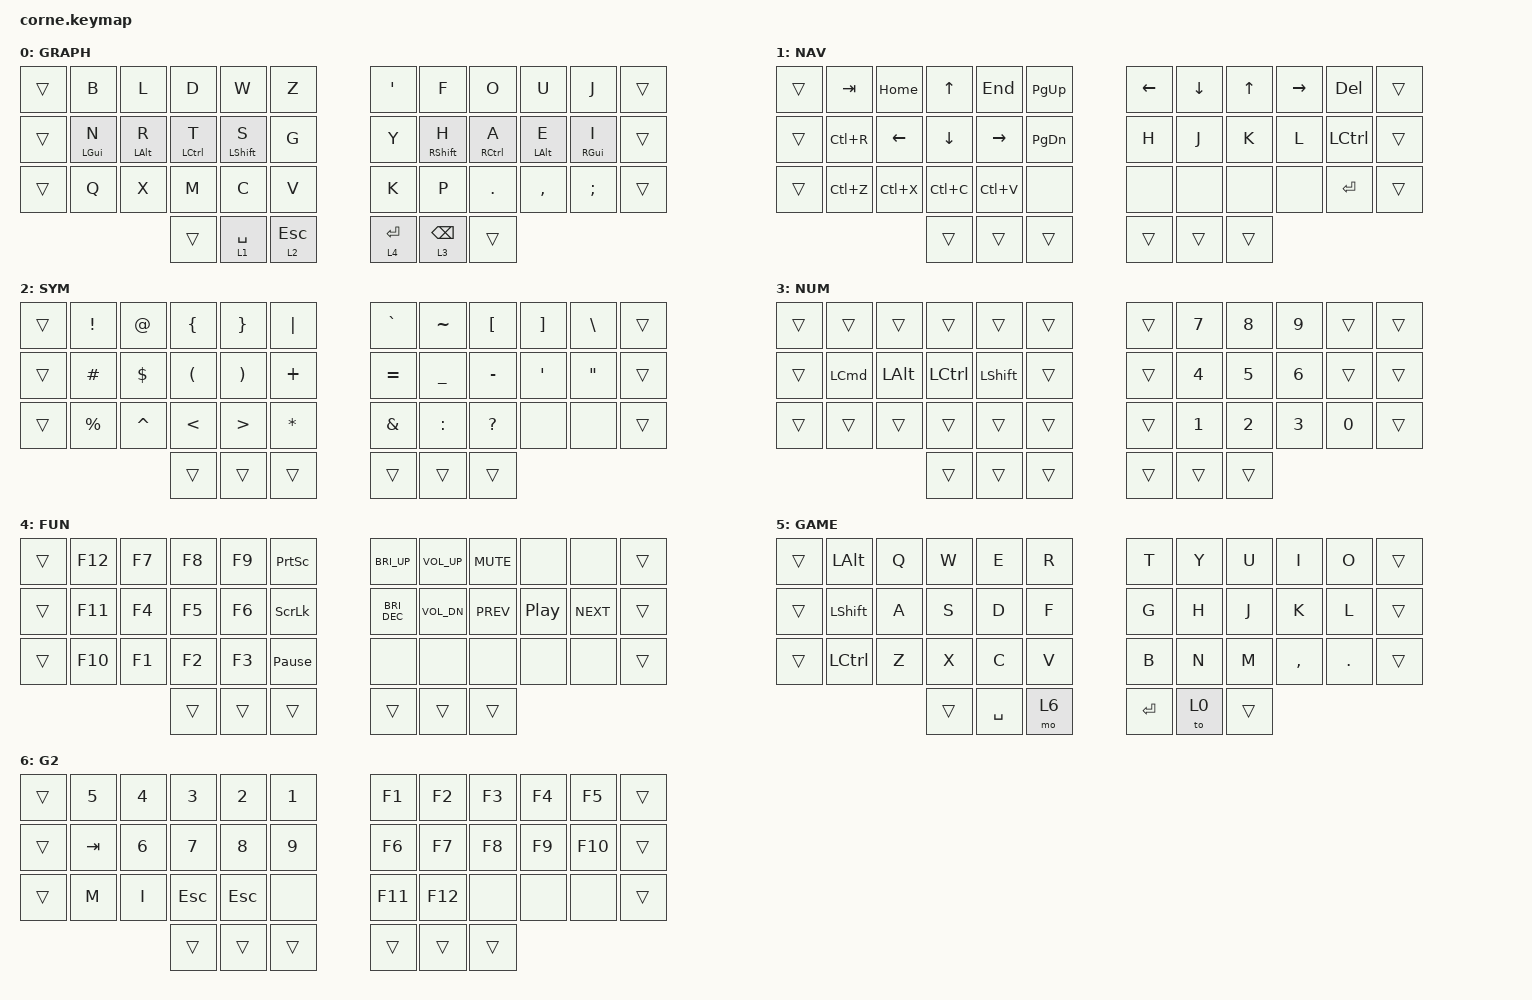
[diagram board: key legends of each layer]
#include <behaviors.dtsi>
#include <dt-bindings/zmk/keys.h>
#include <dt-bindings/zmk/bt.h>

#include "macros.dtsi"
#include "combos.dtsi"
#include "behaviors.dtsi"

/ {
    keymap {
        compatible = "zmk,keymap";

        // L0: GRAPHITE BASE
        graphite_layer {
            display-name = "GRAPH"; // This shows on the OLED
            bindings = <
                // ╭───────────┬───────────┬───────────┬────────────┬────────────┬────────────╮ ╭───────────┬─────────────┬─────────────┬─────────────┬────────────┬───────────╮
                      &trans      &kp B        &kp L        &kp D       &kp W         &kp Z        &kp SQT       &kp F        &kp O         &kp U         &kp J       &trans
                // ├───────────┼───────────┼───────────┼────────────┼────────────┼─────────────┤ ├───────────┼────────────┼─────────────┼─────────────┼────────────┼───────────┤
                      &trans    &hm LGUI N  &hm LALT R  &hm LCTRL T &hm LSHFT S       &kp G        &kp Y     &hm RSHFT H    &hm RCTRL A   &hm LALT E    &hm RGUI I     &trans
                // ├───────────┼───────────┼───────────┼────────────┼────────────┤────────────┤ ├───────────┼─────────────┼─────────────┼─────────────┼────────────┤───────────┤
                      &trans      &kp Q        &kp X        &kp M       &kp C         &kp V        &kp K         &kp P        &kp DOT     &kp COMMA     &kp SEMI      &trans
                // ╰───────────┴───────────┼───────────┼────────────┼────────────┼────────────┤ ├───────────┼─────────────┼─────────────┼─────────────┼────────────┼───────────╯
                                                           &trans    &lt 1 SPACE  &lt 2 ESCAPE    &lt 4 RET &lt 3 BACKSPACE    &trans
                //                                     ╰────────────┴────────────┴────────────╯ ╰───────────┴─────────────┴─────────────╯
            >;
        };


        // L1: NAV (VIM MUSCLE MEMORY)

        nav_layer {
            display-name = "NAV"; // This shows on the OLED
            bindings = <
                // ╭───────────┬───────────┬───────────┬────────────┬────────────┬────────────╮ ╭───────────┬────────────┬─────────────┬─────────────┬────────────┬───────────╮
                      &trans      &kp TAB    &kp HOME     &kp UP       &kp END      &kp PG_UP      &kp LEFT    &kp DOWN   &kp UP_ARROW    &kp RIGHT      &kp DEL      &trans
                // ├───────────┼───────────┼───────────┼────────────┼────────────┼────────────┤ ├───────────┼────────────┼─────────────┼─────────────┼────────────┼───────────┤
                      &trans     &kp LC(R)   &kp LEFT    &kp DOWN      &kp RIGHT    &kp PG_DN      &kp H        &kp J         &kp K         &kp L       &kp LCTRL     &trans
                // ├───────────┼───────────┼───────────┼────────────┼────────────┤────────────┤ ├───────────┼────────────┼─────────────┼─────────────┼────────────┤───────────┤
                      &trans     &kp LC(Z)   &kp LC(X)   &kp LC(C)     &kp LC(V)      &none         &none       &none        &none          &none      &kp ENTER      &trans
                // ╰───────────┴───────────┼───────────┼────────────┼────────────┼────────────┤ ├───────────┼────────────┼─────────────┼─────────────┼────────────┼───────────╯
                                                           &trans      &trans        &trans        &trans       &trans       &trans
                //                                     ╰────────────┴────────────┴────────────╯ ╰───────────┴────────────┴─────────────╯
            >;
        };

        // L2: SYMBOLS

        sym_layer {
            display-name = "SYM"; // This shows on the OLED
            bindings = <
                // ╭───────────┬───────────┬───────────┬────────────┬────────────┬────────────╮ ╭───────────┬────────────┬─────────────┬─────────────┬────────────┬───────────╮
                      &trans      &kp EXCL    &kp AT     &kp LBRC      &kp RBRC     &kp PIPE      &kp GRAVE   &kp TILDE     &kp LBKT      &kp RBKT      &kp BSLH     &trans
                // ├───────────┼───────────┼───────────┼────────────┼────────────┼────────────┤ ├───────────┼────────────┼─────────────┼─────────────┼────────────┼───────────┤
                      &trans      &kp HASH    &kp DLLR   &kp LPAR      &kp RPAR     &kp PLUS      &kp EQUAL   &kp UNDER     &kp MINUS     &kp SQT       &kp DQT      &trans
                // ├───────────┼───────────┼───────────┼────────────┼────────────┤────────────┤ ├───────────┼────────────┼─────────────┼─────────────┼────────────┤───────────┤
                      &trans     &kp PRCNT    &kp CARET  &kp LT         &kp GT      &kp ASTRK     &kp AMPS    &kp COLON     &kp QMARK       &none       &none        &trans
                // ╰───────────┴───────────┼───────────┼────────────┼────────────┼────────────┤ ├───────────┼────────────┼─────────────┼─────────────┼────────────┼───────────╯
                                                           &trans      &trans        &trans        &trans       &trans       &trans
                //                                     ╰────────────┴────────────┴────────────╯ ╰───────────┴────────────┴─────────────╯
            >;
        };

        // L3: NUMBERS

        num_layer {
            display-name = "NUM"; // This shows on the OLED
            bindings = <
                // ╭───────────┬────────────────┬───────────┬────────────────┬───────────────┬────────────╮ ╭───────────┬────────────┬─────────────┬─────────────┬────────────┬───────────╮
                      &trans         &trans        &trans         &trans         &trans          &trans        &trans        &kp N7       &kp N8       &kp N9        &trans      &trans
                // ├───────────┼────────────────┼───────────┼────────────────┼───────────────┼────────────┤ ├───────────┼────────────┼─────────────┼─────────────┼────────────┼───────────┤
                      &trans    &kp LEFT_COMMAND  &kp LALT   &kp LEFT_CONTROL  &kp LEFT_SHIFT    &trans        &trans       &kp N4       &kp N5        &kp N6        &trans      &trans
                // ├───────────┼────────────────┼───────────┼────────────────┼───────────────┤────────────┤ ├───────────┼────────────┼─────────────┼─────────────┼────────────┤───────────┤
                      &trans         &trans        &trans         &trans         &trans          &trans        &trans       &kp N1       &kp N2        &kp N3        &kp N0      &trans
                // ╰───────────┴────────────────┼───────────┼────────────────┼───────────────┼────────────┤ ├───────────┼────────────┼─────────────┼─────────────┼────────────┼───────────╯
                                                                        &trans      &trans       &trans        &trans       &trans       &trans
                //                                          ╰────────────────┴───────────────┴────────────╯ ╰───────────┴────────────┴─────────────╯
            >;
        };

        // L4: FUNCTION / MEDIA

        fun_layer {
            display-name = "FUN"; // This shows on the OLED
            bindings = <
                // ╭───────────┬───────────┬───────────┬────────────┬────────────┬───────────────╮ ╭─────────────────────┬────────────┬─────────────┬─────────────┬────────────┬───────────╮
                      &trans      &kp F12     &kp F7       &kp F8       &kp F9      &kp PSCRN       &kp C_BRI_UP          &kp C_VOL_UP  &kp C_MUTE       &none        &none        &trans
                // ├───────────┼───────────┼───────────┼────────────┼────────────┼───────────────┤ ├─────────────────────┼────────────┼─────────────┼─────────────┼────────────┼───────────┤
                      &trans      &kp F11     &kp F4       &kp F5       &kp F6      &kp SLCK        &kp C_BRIGHTNESS_DEC  &kp C_VOL_DN  &kp C_PREV      &kp C_PP    &kp C_NEXT     &trans
                // ├───────────┼───────────┼───────────┼────────────┼────────────┤───────────────┤ ├─────────────────────┼────────────┼─────────────┼─────────────┼────────────┤───────────┤
                      &trans      &kp F10     &kp F1       &kp F2       &kp F3    &kp PAUSE_BREAK      &none                 &none         &none         &none        &none        &trans
                // ╰───────────┴───────────┼───────────┼────────────┼────────────┼───────────────┤ ├─────────────────────┼────────────┼─────────────┼─────────────┼────────────┼───────────╯
                                                           &trans      &trans        &trans           &trans                 &trans        &trans
                //                                     ╰────────────┴────────────┴───────────────╯ ╰─────────────────────┴────────────┴─────────────╯
            >;
        };

        // L5: GAMING (NO HRM, WASD FOCUS)

        gaming_layer {
            display-name = "GAME"; // This shows on the OLED
            bindings = <
                // ╭───────────┬───────────┬───────────┬────────────┬────────────┬────────────╮ ╭───────────┬────────────┬─────────────┬─────────────┬────────────┬───────────╮
                      &trans      &kp LALT    &kp Q       &kp W         &kp E        &kp R          &kp T       &kp Y         &kp U          &kp I        &kp O       &trans
                // ├───────────┼───────────┼───────────┼────────────┼────────────┼────────────┤ ├───────────┼────────────┼─────────────┼─────────────┼────────────┼───────────┤
                      &trans     &kp LSHFT    &kp A       &kp S         &kp D        &kp F          &kp G       &kp H         &kp J          &kp K        &kp L       &trans
                // ├───────────┼───────────┼───────────┼────────────┼────────────┤────────────┤ ├───────────┼────────────┼─────────────┼─────────────┼────────────┤───────────┤
                      &trans     &kp LCTRL    &kp Z       &kp X         &kp C        &kp V          &kp B       &kp N         &kp M       &kp COMMA      &kp DOT      &trans
                // ╰───────────┴───────────┼───────────┼────────────┼────────────┼────────────┤ ├───────────┼────────────┼─────────────┼─────────────┼────────────┼───────────╯
                                                           &trans      &kp SPACE     &mo 6         &kp RET      &to 0       &trans
                //                                     ╰────────────┴────────────┴────────────╯ ╰───────────┴────────────┴─────────────╯
            >;
        };

        // L6: GAMING NUMS (HOLD THUMB IN GAME)

        gaming_sub_layer {
            display-name = "G2"; // This shows on the OLED
            bindings = <
                // ╭───────────┬───────────┬───────────┬────────────┬────────────┬────────────╮ ╭───────────┬────────────┬─────────────┬─────────────┬────────────┬───────────╮
                      &trans       &kp N5     &kp N4       &kp N3       &kp N2       &kp N1         &kp F1      &kp F2        &kp F3        &kp F4       &kp F5       &trans
                // ├───────────┼───────────┼───────────┼────────────┼────────────┼────────────┤ ├───────────┼────────────┼─────────────┼─────────────┼────────────┼───────────┤
                      &trans       &kp TAB    &kp N6       &kp N7       &kp N8       &kp N9         &kp F6      &kp F7        &kp F8        &kp F9       &kp F10      &trans
                // ├───────────┼───────────┼───────────┼────────────┼────────────┤────────────┤ ├───────────┼────────────┼─────────────┼─────────────┼────────────┤───────────┤
                      &trans       &kp M      &kp I      &kp ESCAPE   &kp ESCAPE     &none          &kp F11     &kp F12       &none         &none        &none        &trans
                // ╰───────────┴───────────┼───────────┼────────────┼────────────┼────────────┤ ├───────────┼────────────┼─────────────┼─────────────┼────────────┼───────────╯
                                                           &trans      &trans        &trans         &trans       &trans       &trans
                //                                     ╰────────────┴────────────┴────────────╯ ╰───────────┴────────────┴─────────────╯
            >;
        };
    };
};

